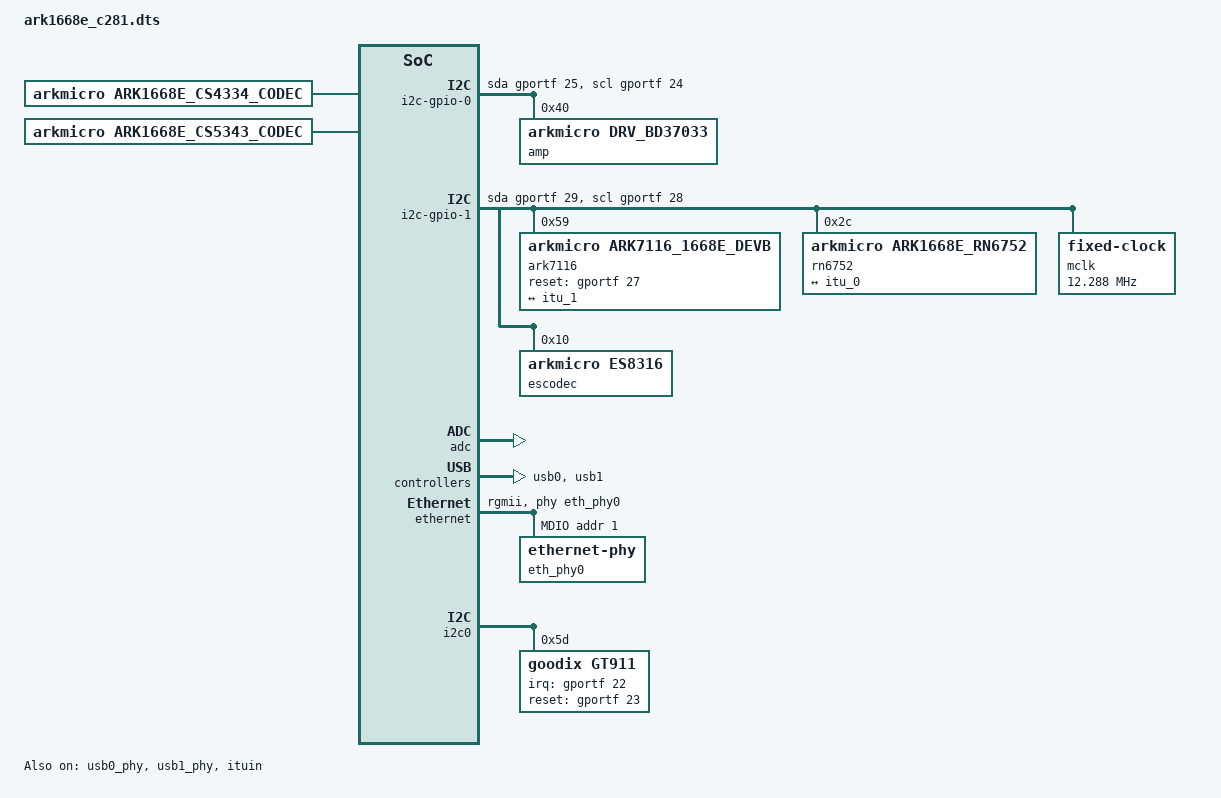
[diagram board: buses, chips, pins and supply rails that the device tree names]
// SPDX-License-Identifier: GPL-2.0
/dts-v1/;
#include "ark1668e.dtsi"
#include "ark1668e-pinctrl.dtsi"

//#define I2S_USE_EXTERNAL_CODEC

/ {
	i2c-gpio-0 {
		#address-cells = <1>;
		#size-cells = <0>;
		compatible = "i2c-gpio";
		gpios = <&gportf 25 0		/* SDA */
			&gportf 24 0		/* SCL */
		>;
		i2c-gpio,delay-us = <6>;	/* clk freq = 500/delay KHz */
		i2c-gpio,scl-output-only;

		amp:drv_bd37033@40{
				status = "okay";
				compatible = "arkmicro,drv_bd37033";
				reg = <0x40>;		/* i2c address(7 bit)*/
				flout-gain = <65>;	/*min = 0 ;max = 95*/
				frout-gain = <65>;	/*min = 0 ;max = 95*/
				rlout-gain = <65>;	/*min = 0 ;max = 95*/
				rrout-gain = <65>;	/*min = 0 ;max = 95*/
				#sound-dai-cells = <0>;
		};
	};

	i2c-gpio-1 {
		#address-cells = <1>;
		#size-cells = <0>;
		compatible = "i2c-gpio";
		gpios = <&gportf 29 0		/* SDA */
			&gportf 28 0		/* SCL */
		>;
		i2c-gpio,delay-us = <6>;	/* clk freq = 500/delay KHz */
		i2c-gpio,scl-output-only;

		ark7116: ark7116@B2 {
			compatible = "arkmicro,ark7116_1668e_devb";
			reset-gpio = <&gportf 27 0>;
			reg = <0x59>; /* i2c address(7 bits) */
			default-channel = <0>;
            carback-config = <1>;
			port {
				ark7116_0: endpoint@0{
					remote-endpoint = <&itu_1>;
				};
			};
		};

		rn6752: da380@4e {
            compatible = "arkmicro,ark1668e_rn6752";
            //reset-gpio = <&gpio3 11 0>;
            reg = <0x2c>; /* i2c address(7 bits) */
            default-channel = <0>;  /* 0:channel A; 1:channel B */
            camera-format = <3>;    /* 0:unknown; 1:cvbs pal; 2:cvbs ntsc; 3:720p pal; 4:720p ntsc */
			port {
                rn6752_0: endpoint@0{
                    remote-endpoint = <&itu_0>;
                };
        	};
		};

		mclk: mclk@12K {
			#clock-cells = <0>;
			compatible = "fixed-clock";
			clock-frequency = <12288000>;
		};

		escodec: es8316@10 {
			compatible = "arkmicro,es8316";
			reg = <0x10>;
			clocks = <&mclk>;
			clock-names = "mclk";
			#sound-dai-cells = <0>;
		};
	};

	cs4334_codec: ark1668e_cs4334_codec {
		status = "okay";
		compatible = "arkmicro,ark1668e_cs4334_codec";
		clock-names = "cs4334_mclk";
		clocks = <&mclk>;
		#sound-dai-cells = <0>;
	};

	cs5343_codec: ark1668e_cs5343_codec {
		status = "okay";
		compatible = "arkmicro,ark1668e_cs5343_codec";
		clock-names = "cs5343_mclk";
		clocks = <&mclk>;
		#sound-dai-cells = <0>;
	};

	sound {
		compatible = "simple-audio-card";
		simple-audio-card,name = "ark1668e devb audio";
		simple-audio-card,widgets =
			"Microphone", "Mic Jack",
			"Line", "Line In",
			"Headphone", "Headphone Jack";
		simple-audio-card,routing =
			"Headphone Jack", "HPOL",
			"Headphone Jack", "HPOR",
			"MIC1", "Mic Jack",
			"MIC2", "Mic Jack";

#ifdef I2S_USE_EXTERNAL_CODEC
		simple-audio-card,aux-devs = <&amp>;

		simple-audio-card,format = "i2s";
		simple-audio-card,cpu {
			sound-dai = <&i2s_dac>;
		};
		simple-audio-card,codec {
			sound-dai = <&escodec>;//External(DAC):escodec(es8316) ,cs4334_codec ;
		};
#else
		simple-audio-card,dai-link@0 {		/* I2S - adc */
			format = "i2s";
			bitclock-master = <&capture_cpu>;
			frame-master = <&capture_cpu>;
			capture_cpu: cpu {
				sound-dai = <&i2s_adc>;
			};
			capture_codec: codec {
				sound-dai = <&sdadc>;//External(ADC):escodec(es8316) , cs5343_codec  ; Internal(ADC):sdadc
			};
		};

		simple-audio-card,dai-link@1 {		/* I2S - dac */
			format = "i2s";
			bitclock-master = <&playback_cpu>;
			frame-master = <&playback_cpu>;
			playback_cpu: cpu {
				sound-dai = <&i2s_dac>;
			};
			playback_codec: codec {
				sound-dai = <&sddac>;//External(DAC):escodec(es8316) ,cs4334_codec ; Internal(DAC):sddac
			};
		};
#endif
	};

	carback: carback@0 {
		compatible = "arkmicro,ark1668e-carback";
		interrupt-parent = <&gportd>;
		interrupts = <1 IRQ_TYPE_EDGE_BOTH>;
		detect-gpios = <&gportd 1 GPIO_ACTIVE_HIGH>;
		debounce-detect = <0>;
		reg = <0x5ea00000 0x400000>;
	};

	adc {
        compatible = "arkmicro,ark1668e-adc";
        reg = <0xe4500000 0x1000
            0xe4900000 0x1000>;
		interrupts = <GIC_SPI 4 IRQ_TYPE_LEVEL_HIGH>;
    };

};

&lcdc {
	display = <&display0>;
	pinctrl-names = "default";
	/* set pad only to prevent gpio use */
	pinctrl-0 = <&pinctrl_lcd_dlvds>;

	display0: display@0 {
		interface-type = "DLVDS";
		lvds-con = <0x4545>;
		lvds-con2 = <0xfa000101>;
		bits-per-pixel = <32>;
		power-control-gpio = <&gportd 0 GPIO_ACTIVE_HIGH>;
		lcd-wiring-mode = "RGB";
		lcdcon-backlight;
		pwms = <&pwm0 0 50000>;
		pwm-names = "backlight";
		backlight-value = <30>;
		backlight-delay = <200>;

		display-timings {
			native-mode = <&timing0>;
			timing0: timing0 {
				clock-frequency = <40000000>;
				hactive = <1280>;
				vactive = <480>;
				hback-porch = <20>;
				hfront-porch = <45>;
				vback-porch = <5>;
				vfront-porch = <10>;
				hsync-len = <5>;
				vsync-len = <6>;
				hsync-active = <1>;
				vsync-active = <1>;
				de-active = <0>;
				pixelclk-active = <0>;
			};
		};
	};
};

&usb0_phy {
	compatible = "usb-nop-xceiv";
	#phy-cells = <0>;
	status = "okay";
};

&usb0 {
	status = "okay";
};

&usb1_phy {
	compatible = "usb-nop-xceiv";
	#phy-cells = <0>;
	status = "okay";
};

&usb1 {
	status = "okay";
};

&uart3 {
    use-in-kernel;
    use-for-mcu;
};

&ituin {
	status = "okay";
	channel = <1>;             //for no pinctr
	x_pos = <0>;
	y_pos = <0>;
	//width = <800>;          //if this line is commented out, it is displayed in full screen
	height = <720>;

	port {
		itu_0: endpoint@0 {
			is-itu601;
			vsync-active = <1>;
			hsync-active = <1>;
			remote-endpoint = <&rn6752_0>;
            channel = <0>;
		};

		itu_1: endpoint@1 {
			remote-endpoint = <&ark7116_0>;
			channel = <1>;
		};
	};
};





&ethernet {
	status = "okay";
	phy-handle = <&eth_phy0>;
	phy-mode = "rgmii";

	//snps,reset-gpio = <&gportd 15 GPIO_ACTIVE_LOW>;
	//snps,reset-active-low;
	//snps,reset-delays-us = <0 10000 1000000>;

	mdio {
		compatible = "snps,dwmac-mdio";
		#address-cells = <1>;
		#size-cells = <0>;

		eth_phy0: ethernet-phy@0 {
			/* Realtek RTL8211F (0x001cc916) */
			reg = <1>;
		};
	};
};


&i2c0 {
	gt911: touchscreen@5d {
		compatible = "goodix,gt911";
		reg = <0x5d>;
		interrupt-parent = <&gportf>;
		interrupts = <22 IRQ_TYPE_EDGE_FALLING>;
		irq-gpios = <&gportf 22 GPIO_ACTIVE_HIGH>;
		reset-gpios = <&gportf 23 GPIO_ACTIVE_HIGH>;
		//touchscreen-inverted-x;
	};
};

&can0{
	status = "disabled";
};

&can1{
	status = "disabled";
};

&sdadc {
	external-i2s;
};
